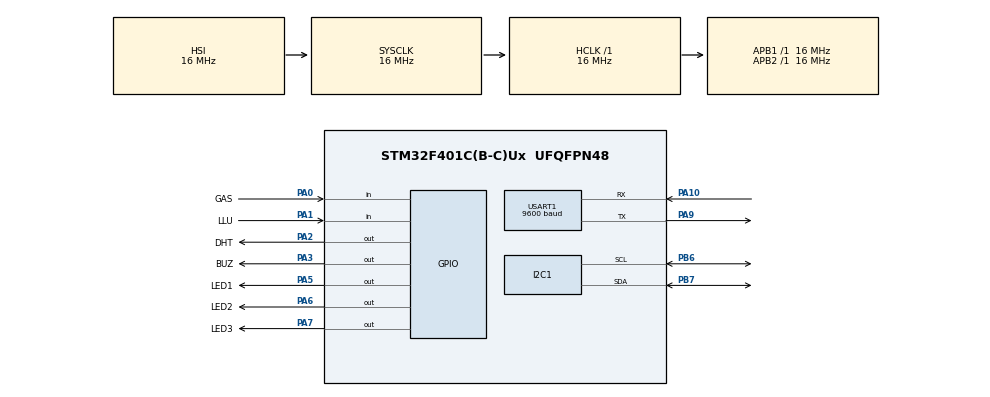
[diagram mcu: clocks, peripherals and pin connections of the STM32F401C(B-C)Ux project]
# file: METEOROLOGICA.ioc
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Mcu.Family=STM32F4
Mcu.Name=STM32F401C(B-C)Ux
Mcu.Package=UFQFPN48
NVIC.PriorityGroup=NVIC_PRIORITYGROUP_4
NVIC.TIM1_UP_TIM10_IRQn=true\:0\:0\:false\:false\:true\:true\:true\:true
PA0-WKUP.GPIO_Label=GAS
PA0-WKUP.Signal=GPIO_Input
PA1.GPIO_Label=LLU
PA1.Signal=GPIO_Input
PA10.Mode=Asynchronous
PA10.Signal=USART1_RX
PA2.GPIO_Label=DHT
PA2.Signal=GPIO_Output
PA3.GPIO_Label=BUZ
PA3.Signal=GPIO_Output
PA5.GPIO_Label=LED1
PA5.Signal=GPIO_Output
PA6.GPIO_Label=LED2
PA6.Signal=GPIO_Output
PA7.GPIO_Label=LED3
PA7.Signal=GPIO_Output
PA9.Mode=Asynchronous
PA9.Signal=USART1_TX
PB6.Mode=I2C
PB6.Signal=I2C1_SCL
PB7.Mode=I2C
PB7.Signal=I2C1_SDA
PH0\ -\ OSC_IN.Mode=HSE-External-Oscillator
PH0\ -\ OSC_IN.Signal=RCC_OSC_IN
PH1\ -\ OSC_OUT.Mode=HSE-External-Oscillator
PH1\ -\ OSC_OUT.Signal=RCC_OSC_OUT
ProjectManager.HeapSize=0x200
ProjectManager.StackSize=0x400
ProjectManager.TargetToolchain=CMake
RCC.48MHZClocksFreq_Value=48000000
RCC.AHBFreq_Value=16000000
RCC.APB1Freq_Value=16000000
RCC.APB2Freq_Value=16000000
RCC.CortexFreq_Value=16000000
RCC.HSE_VALUE=25000000
RCC.HSI_VALUE=16000000
RCC.LSE_VALUE=32768
RCC.SYSCLKFreq_VALUE=16000000
RCC.VCOOutputFreq_Value=192000000
TIM1.AutoReloadPreload=TIM_AUTORELOAD_PRELOAD_ENABLE
TIM1.Period=100-1
TIM1.Prescaler=16000-1
USART1.BaudRate=9600
USART1.VirtualMode=VM_ASYNC
VP_TIM1_VS_ClockSourceINT.Mode=Internal
board=custom

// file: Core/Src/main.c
/* USER CODE BEGIN Header */
/**
  ******************************************************************************
  * @file           : main.c
  * @brief          : Main program body
  ******************************************************************************
  * @attention
  *
  * Copyright (c) 2026 STMicroelectronics.
  * All rights reserved.
  *
  * This software is licensed under terms that can be found in the LICENSE file
  * in the root directory of this software component.
  * If no LICENSE file comes with this software, it is provided AS-IS.
  *
  ******************************************************************************
  */
/* USER CODE END Header */
#include "main.h"

/* USER CODE BEGIN Includes */
#include <math.h>
#include <stdio.h>

/* USER CODE END Includes */

I2C_HandleTypeDef hi2c1;

TIM_HandleTypeDef htim1;

UART_HandleTypeDef huart1;

/* USER CODE BEGIN PV */
volatile uint32_t cont_500ms = 0;
volatile uint32_t cont_2000ms = 0;
volatile uint8_t sensor_sample_pending = 0;
volatile uint8_t digital_alarm = 0;
volatile uint8_t weather_warning = 0;
volatile uint8_t pressure_warning = 0;
float temp_dht = NAN;
float hum_dht = NAN;
float pres_bmp = NAN;
float temp_bmp = NAN;

/* USER CODE END PV */

void SystemClock_Config(void);
static void MX_GPIO_Init(void);
static void MX_I2C1_Init(void);
static void MX_TIM1_Init(void);
static void MX_USART1_UART_Init(void);
/* USER CODE BEGIN PFP */
void DHT11_Read(float *temperatura, float *humedad);
void BMP280_Read(float *presion, float *temperatura);
static void DelayUs(uint32_t microseconds);
static uint8_t DHT11_WaitForLevel(GPIO_PinState level, uint32_t timeout_us);
static HAL_StatusTypeDef BMP280_ReadReg(uint8_t address, uint8_t reg,
                                        uint8_t *data, uint16_t size);
static HAL_StatusTypeDef BMP280_WriteReg(uint8_t address, uint8_t reg,
                                         uint8_t value);
static void FormatFloat1(float value, char *buffer, size_t buffer_size);
static void UART_SendReadings(void);

/* USER CODE END PFP */

int main(void)
{

  /* MCU Configuration--------------------------------------------------------*/

  /* Reset of all peripherals, Initializes the Flash interface and the Systick. */
  HAL_Init();

  /* Configure the system clock */
  SystemClock_Config();

  /* Initialize all configured peripherals */
  MX_GPIO_Init();
  MX_I2C1_Init();
  MX_TIM1_Init();
  MX_USART1_UART_Init();
  /* USER CODE BEGIN 2 */
  CoreDebug->DEMCR |= CoreDebug_DEMCR_TRCENA_Msk;
  DWT->CYCCNT = 0U;
  DWT->CTRL |= DWT_CTRL_CYCCNTENA_Msk;

  if (HAL_TIM_Base_Start_IT(&htim1) != HAL_OK)
  {
    Error_Handler();
  }

  /* USER CODE END 2 */

  /* Infinite loop */
  while (1)
  {
    /* USER CODE BEGIN 3 */

    static uint8_t buzzer_active = 0U;
    static uint32_t buzzer_last_toggle_cycles = 0U;
    uint8_t sample_pending;
    uint32_t primask = __get_PRIMASK();
    __disable_irq();
    sample_pending = sensor_sample_pending;
    sensor_sample_pending = 0U;
    __set_PRIMASK(primask);

    if (sample_pending != 0U)
    {
      DHT11_Read(&temp_dht, &hum_dht);
      BMP280_Read(&pres_bmp, &temp_bmp);
      pressure_warning = (isfinite(pres_bmp) &&
                          (pres_bmp >= 300.0f) && (pres_bmp <= 1100.0f) &&
                          (pres_bmp < 990.0f)) ? 1U : 0U;
      weather_warning = ((isfinite(temp_dht) && isfinite(hum_dht) &&
                          (temp_dht >= 0.0f) && (temp_dht <= 50.0f) &&
                          (hum_dht >= 0.0f) && (hum_dht <= 100.0f) &&
                          (temp_dht > 40.0f)) ||
                         (pressure_warning != 0U)) ? 1U : 0U;
      UART_SendReadings();
    }

    if ((digital_alarm != 0U) || (weather_warning != 0U))
    {
      uint32_t now = DWT->CYCCNT;
      uint32_t half_period_cycles = SystemCoreClock / 4000U;

      if (buzzer_active == 0U)
      {
        HAL_GPIO_WritePin(BUZ_GPIO_Port, BUZ_Pin, GPIO_PIN_SET);
        buzzer_active = 1U;
        buzzer_last_toggle_cycles = now;
      }
      else if ((now - buzzer_last_toggle_cycles) >= half_period_cycles)
      {
        HAL_GPIO_TogglePin(BUZ_GPIO_Port, BUZ_Pin);
        buzzer_last_toggle_cycles = now;
      }
    }
    else if (buzzer_active != 0U)
    {
      HAL_GPIO_WritePin(BUZ_GPIO_Port, BUZ_Pin, GPIO_PIN_RESET);
      buzzer_active = 0U;
    }
  }

  /* USER CODE END 3 */

}

void SystemClock_Config(void)
{
  RCC_OscInitTypeDef RCC_OscInitStruct = {0};
  RCC_ClkInitTypeDef RCC_ClkInitStruct = {0};

  /** Configure the main internal regulator output voltage
  */
  __HAL_RCC_PWR_CLK_ENABLE();
  __HAL_PWR_VOLTAGESCALING_CONFIG(PWR_REGULATOR_VOLTAGE_SCALE2);

  /** Initializes the RCC Oscillators according to the specified parameters
  * in the RCC_OscInitTypeDef structure.
  */
  RCC_OscInitStruct.OscillatorType = RCC_OSCILLATORTYPE_HSI;
  RCC_OscInitStruct.HSIState = RCC_HSI_ON;
  RCC_OscInitStruct.HSICalibrationValue = RCC_HSICALIBRATION_DEFAULT;
  RCC_OscInitStruct.PLL.PLLState = RCC_PLL_NONE;
  if (HAL_RCC_OscConfig(&RCC_OscInitStruct) != HAL_OK)
  {
    Error_Handler();
  }

  /** Initializes the CPU, AHB and APB buses clocks
  */
  RCC_ClkInitStruct.ClockType = RCC_CLOCKTYPE_HCLK|RCC_CLOCKTYPE_SYSCLK
                              |RCC_CLOCKTYPE_PCLK1|RCC_CLOCKTYPE_PCLK2;
  RCC_ClkInitStruct.SYSCLKSource = RCC_SYSCLKSOURCE_HSI;
  RCC_ClkInitStruct.AHBCLKDivider = RCC_SYSCLK_DIV1;
  RCC_ClkInitStruct.APB1CLKDivider = RCC_HCLK_DIV1;
  RCC_ClkInitStruct.APB2CLKDivider = RCC_HCLK_DIV1;

  if (HAL_RCC_ClockConfig(&RCC_ClkInitStruct, FLASH_LATENCY_0) != HAL_OK)
  {
    Error_Handler();
  }
}

static void MX_I2C1_Init(void)
{

  hi2c1.Instance = I2C1;
  hi2c1.Init.ClockSpeed = 100000;
  hi2c1.Init.DutyCycle = I2C_DUTYCYCLE_2;
  hi2c1.Init.OwnAddress1 = 0;
  hi2c1.Init.AddressingMode = I2C_ADDRESSINGMODE_7BIT;
  hi2c1.Init.DualAddressMode = I2C_DUALADDRESS_DISABLE;
  hi2c1.Init.OwnAddress2 = 0;
  hi2c1.Init.GeneralCallMode = I2C_GENERALCALL_DISABLE;
  hi2c1.Init.NoStretchMode = I2C_NOSTRETCH_DISABLE;
  if (HAL_I2C_Init(&hi2c1) != HAL_OK)
  {
    Error_Handler();
  }

}

static void MX_TIM1_Init(void)
{

  TIM_ClockConfigTypeDef sClockSourceConfig = {0};
  TIM_MasterConfigTypeDef sMasterConfig = {0};

  htim1.Instance = TIM1;
  htim1.Init.Prescaler = 16000-1;
  htim1.Init.CounterMode = TIM_COUNTERMODE_UP;
  htim1.Init.Period = 100-1;
  htim1.Init.ClockDivision = TIM_CLOCKDIVISION_DIV1;
  htim1.Init.RepetitionCounter = 0;
  htim1.Init.AutoReloadPreload = TIM_AUTORELOAD_PRELOAD_ENABLE;
  if (HAL_TIM_Base_Init(&htim1) != HAL_OK)
  {
    Error_Handler();
  }
  sClockSourceConfig.ClockSource = TIM_CLOCKSOURCE_INTERNAL;
  if (HAL_TIM_ConfigClockSource(&htim1, &sClockSourceConfig) != HAL_OK)
  {
    Error_Handler();
  }
  sMasterConfig.MasterOutputTrigger = TIM_TRGO_RESET;
  sMasterConfig.MasterSlaveMode = TIM_MASTERSLAVEMODE_DISABLE;
  if (HAL_TIMEx_MasterConfigSynchronization(&htim1, &sMasterConfig) != HAL_OK)
  {
    Error_Handler();
  }

}

static void MX_USART1_UART_Init(void)
{

  huart1.Instance = USART1;
  huart1.Init.BaudRate = 9600;
  huart1.Init.WordLength = UART_WORDLENGTH_8B;
  huart1.Init.StopBits = UART_STOPBITS_1;
  huart1.Init.Parity = UART_PARITY_NONE;
  huart1.Init.Mode = UART_MODE_TX_RX;
  huart1.Init.HwFlowCtl = UART_HWCONTROL_NONE;
  huart1.Init.OverSampling = UART_OVERSAMPLING_16;
  if (HAL_UART_Init(&huart1) != HAL_OK)
  {
    Error_Handler();
  }

}

static void MX_GPIO_Init(void)
{
  GPIO_InitTypeDef GPIO_InitStruct = {0};

  /* GPIO Ports Clock Enable */
  __HAL_RCC_GPIOH_CLK_ENABLE();
  __HAL_RCC_GPIOA_CLK_ENABLE();
  __HAL_RCC_GPIOB_CLK_ENABLE();

  /*Configure GPIO pin Output Level */
  HAL_GPIO_WritePin(GPIOA, DHT_Pin|BUZ_Pin|LED1_Pin|LED2_Pin
                          |LED3_Pin, GPIO_PIN_RESET);

  /*Configure GPIO pins : GAS_Pin LLU_Pin */
  GPIO_InitStruct.Pin = GAS_Pin|LLU_Pin;
  GPIO_InitStruct.Mode = GPIO_MODE_INPUT;
  GPIO_InitStruct.Pull = GPIO_NOPULL;
  HAL_GPIO_Init(GPIOA, &GPIO_InitStruct);

  /*Configure GPIO pins : DHT_Pin BUZ_Pin LED1_Pin LED2_Pin
                           LED3_Pin */
  GPIO_InitStruct.Pin = DHT_Pin|BUZ_Pin|LED1_Pin|LED2_Pin
                          |LED3_Pin;
  GPIO_InitStruct.Mode = GPIO_MODE_OUTPUT_PP;
  GPIO_InitStruct.Pull = GPIO_NOPULL;
  GPIO_InitStruct.Speed = GPIO_SPEED_FREQ_LOW;
  HAL_GPIO_Init(GPIOA, &GPIO_InitStruct);

}

/* USER CODE BEGIN 4 */
static void FormatFloat1(float value, char *buffer, size_t buffer_size)
{
  int32_t scaled = (int32_t)((value * 10.0f) +
                             ((value >= 0.0f) ? 0.5f : -0.5f));
  uint32_t magnitude = (scaled < 0) ? (uint32_t)(-scaled) :
                                      (uint32_t)scaled;

  (void)snprintf(buffer, buffer_size, "%s%lu.%lu",
                 (scaled < 0) ? "-" : "",
                 (unsigned long)(magnitude / 10U),
                 (unsigned long)(magnitude % 10U));
}

static void UART_SendReadings(void)
{
  char temperature[16];
  char humidity[16];
  char pressure[16];
  char message[100];
  uint8_t dht_ok = (isfinite(temp_dht) && isfinite(hum_dht) &&
                    (temp_dht >= 0.0f) && (temp_dht <= 50.0f) &&
                    (hum_dht >= 0.0f) && (hum_dht <= 100.0f)) ? 1U : 0U;
  uint8_t bmp_ok = (isfinite(pres_bmp) &&
                    (pres_bmp >= 300.0f) && (pres_bmp <= 1100.0f)) ? 1U : 0U;
  int message_length;

  if (dht_ok != 0U)
  {
    FormatFloat1(temp_dht, temperature, sizeof(temperature));
    FormatFloat1(hum_dht, humidity, sizeof(humidity));
  }
  else
  {
    (void)snprintf(temperature, sizeof(temperature), "N/A");
    (void)snprintf(humidity, sizeof(humidity), "N/A");
  }

  if (bmp_ok != 0U)
  {
    FormatFloat1(pres_bmp, pressure, sizeof(pressure));
  }
  else
  {
    (void)snprintf(pressure, sizeof(pressure), "N/A");
  }

  message_length = snprintf(message, sizeof(message),
                            "DHT11=%s T=%s C H=%s %% | BMP280=%s P=%s hPa\r\n",
                            (dht_ok != 0U) ? "OK" : "ERROR",
                            temperature, humidity,
                            (bmp_ok != 0U) ? "OK" : "ERROR", pressure);
  if ((message_length < 0) || ((size_t)message_length >= sizeof(message)))
  {
    Error_Handler();
  }

  if (HAL_UART_Transmit(&huart1, (uint8_t *)message,
                        (uint16_t)message_length, HAL_MAX_DELAY) != HAL_OK)
  {
    Error_Handler();
  }
}

static void DelayUs(uint32_t microseconds)
{
  uint32_t start = DWT->CYCCNT;
  uint32_t cycles = (SystemCoreClock / 1000000U) * microseconds;

  while ((DWT->CYCCNT - start) < cycles)
  {
  }
}

static uint8_t DHT11_WaitForLevel(GPIO_PinState level, uint32_t timeout_us)
{
  uint32_t start = DWT->CYCCNT;
  uint32_t timeout_cycles = (SystemCoreClock / 1000000U) * timeout_us;

  while (HAL_GPIO_ReadPin(DHT_GPIO_Port, DHT_Pin) != level)
  {
    if ((DWT->CYCCNT - start) >= timeout_cycles)
    {
      return 0U;
    }
  }

  return 1U;
}

void DHT11_Read(float *temperatura, float *humedad)
{
  uint8_t data[5] = {0};
  uint8_t success = 1U;
  uint32_t primask;
  GPIO_InitTypeDef GPIO_InitStruct = {0};

  if ((temperatura == NULL) || (humedad == NULL))
  {
    return;
  }

  *temperatura = NAN;
  *humedad = NAN;

  GPIO_InitStruct.Pin = DHT_Pin;
  GPIO_InitStruct.Mode = GPIO_MODE_OUTPUT_OD;
  GPIO_InitStruct.Pull = GPIO_PULLUP;
  GPIO_InitStruct.Speed = GPIO_SPEED_FREQ_LOW;
  HAL_GPIO_Init(DHT_GPIO_Port, &GPIO_InitStruct);
  HAL_GPIO_WritePin(DHT_GPIO_Port, DHT_Pin, GPIO_PIN_RESET);
  DelayUs(18000U);
  HAL_GPIO_WritePin(DHT_GPIO_Port, DHT_Pin, GPIO_PIN_SET);
  DelayUs(30U);

  GPIO_InitStruct.Mode = GPIO_MODE_INPUT;
  GPIO_InitStruct.Pull = GPIO_PULLUP;
  HAL_GPIO_Init(DHT_GPIO_Port, &GPIO_InitStruct);

  if ((DHT11_WaitForLevel(GPIO_PIN_RESET, 100U) == 0U) ||
      (DHT11_WaitForLevel(GPIO_PIN_SET, 100U) == 0U) ||
      (DHT11_WaitForLevel(GPIO_PIN_RESET, 100U) == 0U))
  {
    success = 0U;
  }
  else
  {
    primask = __get_PRIMASK();
    __disable_irq();

    for (uint8_t bit = 0U; bit < 40U; bit++)
    {
      uint32_t pulse_start;
      uint32_t pulse_cycles;

      if ((DHT11_WaitForLevel(GPIO_PIN_SET, 100U) == 0U))
      {
        success = 0U;
        break;
      }

      pulse_start = DWT->CYCCNT;
      if (DHT11_WaitForLevel(GPIO_PIN_RESET, 100U) == 0U)
      {
        success = 0U;
        break;
      }

      pulse_cycles = DWT->CYCCNT - pulse_start;
      data[bit / 8U] <<= 1;
      if (pulse_cycles > ((SystemCoreClock / 1000000U) * 40U))
      {
        data[bit / 8U] |= 1U;
      }
    }

    __set_PRIMASK(primask);
  }

  GPIO_InitStruct.Mode = GPIO_MODE_INPUT;
  GPIO_InitStruct.Pull = GPIO_PULLUP;
  HAL_GPIO_Init(DHT_GPIO_Port, &GPIO_InitStruct);

  if ((success == 0U) ||
      (data[4] != (uint8_t)(data[0] + data[1] + data[2] + data[3])))
  {
    return;
  }

  *humedad = (float)data[0] + ((float)data[1] / 10.0f);
  *temperatura = (float)(data[2] & 0x7FU) + ((float)data[3] / 10.0f);
  if ((data[2] & 0x80U) != 0U)
  {
    *temperatura = -*temperatura;
  }
}

static HAL_StatusTypeDef BMP280_ReadReg(uint8_t address, uint8_t reg,
                                        uint8_t *data, uint16_t size)
{
  return HAL_I2C_Mem_Read(&hi2c1, (uint16_t)(address << 1), reg,
                          I2C_MEMADD_SIZE_8BIT, data, size, 20U);
}

static HAL_StatusTypeDef BMP280_WriteReg(uint8_t address, uint8_t reg,
                                         uint8_t value)
{
  return HAL_I2C_Mem_Write(&hi2c1, (uint16_t)(address << 1), reg,
                           I2C_MEMADD_SIZE_8BIT, &value, 1U, 20U);
}

void BMP280_Read(float *presion, float *temperatura)
{
  uint8_t address = 0x76U;
  uint8_t chip_id;
  uint8_t calibration[24];
  uint8_t raw[6];
  int32_t adc_pressure;
  int32_t adc_temperature;
  uint16_t dig_T1;
  int16_t dig_T2;
  int16_t dig_T3;
  uint16_t dig_P1;
  int16_t dig_P2;
  int16_t dig_P3;
  int16_t dig_P4;
  int16_t dig_P5;
  int16_t dig_P6;
  int16_t dig_P7;
  int16_t dig_P8;
  int16_t dig_P9;
  float var1;
  float var2;
  float t_fine;
  float pressure;

  if ((presion == NULL) || (temperatura == NULL))
  {
    return;
  }

  *presion = NAN;
  *temperatura = NAN;

  if ((BMP280_ReadReg(address, 0xD0U, &chip_id, 1U) != HAL_OK) ||
      (chip_id != 0x58U))
  {
    address = 0x77U;
    if ((BMP280_ReadReg(address, 0xD0U, &chip_id, 1U) != HAL_OK) ||
        (chip_id != 0x58U))
    {
      return;
    }
  }
  if ((BMP280_ReadReg(address, 0x88U, calibration, sizeof(calibration)) != HAL_OK) ||
      (BMP280_WriteReg(address, 0xF4U, 0x25U) != HAL_OK))
  {
    return;
  }

  DelayUs(10000U);
  if (BMP280_ReadReg(address, 0xF7U, raw, sizeof(raw)) != HAL_OK)
  {
    return;
  }

  adc_pressure = ((int32_t)raw[0] << 12) |
                 ((int32_t)raw[1] << 4) | ((int32_t)raw[2] >> 4);
  adc_temperature = ((int32_t)raw[3] << 12) |
                    ((int32_t)raw[4] << 4) | ((int32_t)raw[5] >> 4);

  dig_T1 = (uint16_t)(calibration[1] << 8) | calibration[0];
  dig_T2 = (int16_t)((uint16_t)(calibration[3] << 8) | calibration[2]);
  dig_T3 = (int16_t)((uint16_t)(calibration[5] << 8) | calibration[4]);
  dig_P1 = (uint16_t)(calibration[7] << 8) | calibration[6];
  dig_P2 = (int16_t)((uint16_t)(calibration[9] << 8) | calibration[8]);
  dig_P3 = (int16_t)((uint16_t)(calibration[11] << 8) | calibration[10]);
  dig_P4 = (int16_t)((uint16_t)(calibration[13] << 8) | calibration[12]);
  dig_P5 = (int16_t)((uint16_t)(calibration[15] << 8) | calibration[14]);
  dig_P6 = (int16_t)((uint16_t)(calibration[17] << 8) | calibration[16]);
  dig_P7 = (int16_t)((uint16_t)(calibration[19] << 8) | calibration[18]);
  dig_P8 = (int16_t)((uint16_t)(calibration[21] << 8) | calibration[20]);
  dig_P9 = (int16_t)((uint16_t)(calibration[23] << 8) | calibration[22]);

  var1 = (((float)adc_temperature / 16384.0f) -
          ((float)dig_T1 / 1024.0f)) * (float)dig_T2;
  var2 = (((float)adc_temperature / 131072.0f) -
          ((float)dig_T1 / 8192.0f));
  var2 = var2 * var2 * (float)dig_T3;
  t_fine = var1 + var2;
  *temperatura = t_fine / 5120.0f;

  var1 = (t_fine / 2.0f) - 64000.0f;
  var2 = var1 * var1 * ((float)dig_P6 / 32768.0f);
  var2 += var1 * (float)dig_P5 * 2.0f;
  var2 = (var2 / 4.0f) + ((float)dig_P4 * 65536.0f);
  var1 = (((float)dig_P3 * var1 * var1 / 524288.0f) +
          ((float)dig_P2 * var1)) / 524288.0f;
  var1 = (1.0f + (var1 / 32768.0f)) * (float)dig_P1;

  if (var1 == 0.0f)
  {
    *temperatura = NAN;
    return;
  }

  pressure = 1048576.0f - (float)adc_pressure;
  pressure = ((pressure - (var2 / 4096.0f)) * 6250.0f) / var1;
  var1 = (float)dig_P9 * pressure * pressure / 2147483648.0f;
  var2 = pressure * (float)dig_P8 / 32768.0f;
  pressure += (var1 + var2 + (float)dig_P7) / 16.0f;
  *presion = pressure / 100.0f;
}

void HAL_TIM_PeriodElapsedCallback(TIM_HandleTypeDef *htim)
{
  if (htim->Instance == TIM1)
  {
    GPIO_PinState gas_state = HAL_GPIO_ReadPin(GAS_GPIO_Port, GAS_Pin);
    GPIO_PinState rain_state = HAL_GPIO_ReadPin(LLU_GPIO_Port, LLU_Pin);

    digital_alarm = ((gas_state == GPIO_PIN_RESET) ||
                     (rain_state == GPIO_PIN_RESET)) ? 1U : 0U;

    HAL_GPIO_WritePin(LED1_GPIO_Port, LED1_Pin,
                      (pressure_warning != 0U) ? GPIO_PIN_SET : GPIO_PIN_RESET);

    if ((digital_alarm != 0U) || (weather_warning != 0U))
    {
      cont_500ms = 0U;
      HAL_GPIO_TogglePin(LED2_GPIO_Port, LED2_Pin);
    }
    else
    {
      cont_500ms++;
      if (cont_500ms >= 5U)
      {
        cont_500ms = 0U;
        HAL_GPIO_TogglePin(LED2_GPIO_Port, LED2_Pin);
      }
    }

    cont_2000ms++;
    if (cont_2000ms >= 20U)
    {
      cont_2000ms = 0U;
      HAL_GPIO_TogglePin(LED3_GPIO_Port, LED3_Pin);
      sensor_sample_pending = 1U;
    }
  }
}

/* USER CODE END 4 */

void Error_Handler(void)
{
  __disable_irq();
  while (1)
  {
  }
}
